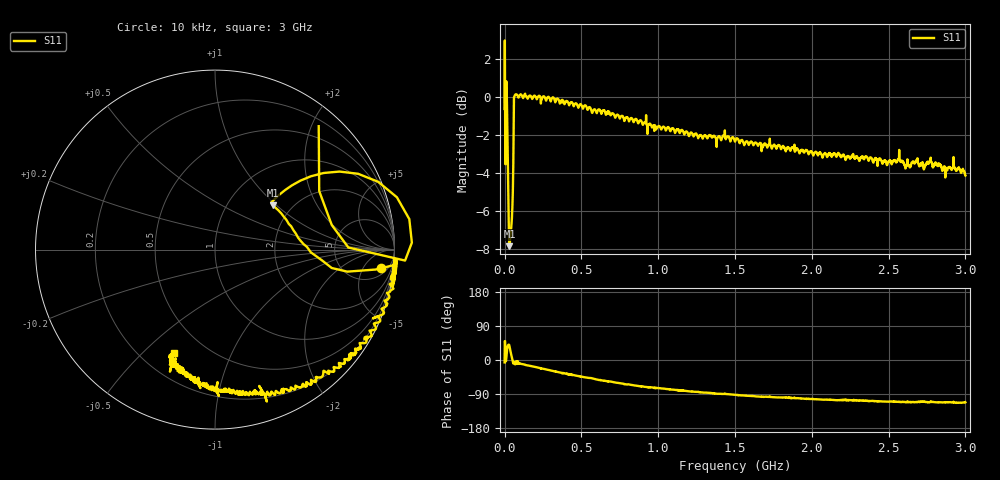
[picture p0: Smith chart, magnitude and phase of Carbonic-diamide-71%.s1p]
# HZ S RI R 50
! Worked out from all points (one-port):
!   2020 points, 10 kHz to 3 GHz, reference 50 ohm
!   lowest |S11| = -7.8 dB at 31.21 MHz (marker M1), VSWR 2.36, Z = 80.4 + j47.3 ohm
!   |S11| at or under -10 dB: nowhere
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10000  0.923 -0.1035
5953516  0.6506 0.1369
1.635467e7  0.7973 0.4224
1.932643e7  0.6058 0.4269
2.378406e7  0.4287 0.3578
2.675582e7  0.3599 0.307
3.121346e7  0.3223 0.2458
3.715698e7  0.384 0.1825
4.310049e7  0.4371 0.1079
5.350164e7  0.5615 -0.0348
6.39028e7  0.9966 -0.1082
7.133219e7  1.008 -0.0913
7.578983e7  1.013 -0.0627
2.169483e8  0.9384 -0.3431
3.759374e8  0.8105 -0.5521
5.304688e8  0.6555 -0.6802
7.503789e8  0.4221 -0.7677
9.227409e8  0.2748 -0.8023
1.126306e9  0.1553 -0.8065
1.384849e9  0.0106 -0.7778
1.500748e9  -0.0238 -0.7629
1.664194e9  -0.0885 -0.7505
1.875189e9  -0.132 -0.7237
2.157506e9  -0.1919 -0.6718
2.251117e9  -0.1911 -0.6629
2.625558e9  -0.2387 -0.6185
2.766717e9  -0.2482 -0.6295
3e9  -0.2307 -0.5765
